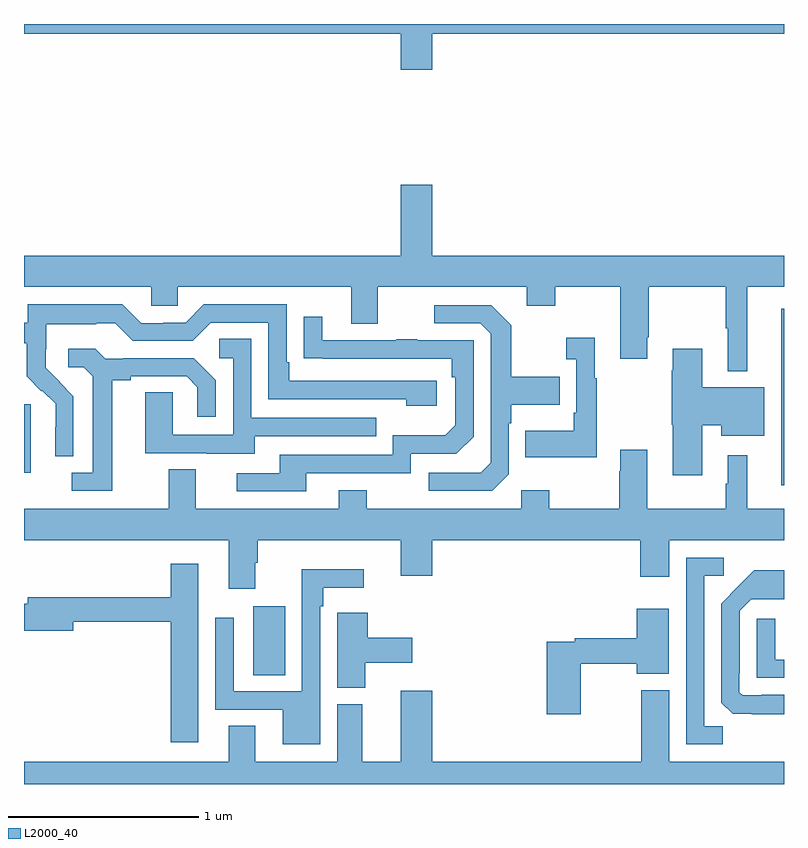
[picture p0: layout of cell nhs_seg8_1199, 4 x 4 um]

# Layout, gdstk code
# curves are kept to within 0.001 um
import gdstk
lib = gdstk.Library(unit=1e-6, precision=1e-09)
def R(c, l, rs):  # rectangles x0, y0, x1, y1
    for r in rs: c.add(gdstk.rectangle(r[:2], r[2:], *l))
def P(c, l, *ps):  # polygons
    for p in ps: c.add(gdstk.Polygon(p, *l))
L2000_40 = (2000, 40)

nhs_seg8_1199 = lib.new_cell('nhs_seg8_1199')
R(nhs_seg8_1199, L2000_40, [(188.207,1098.472,188.374,1098.835), (190.985,1099.473,191,1100.401), (187,1099.538,187.036,1099.899)])
P(nhs_seg8_1199, L2000_40, [(189.148,1101.848),(191,1101.848),(191,1101.9),(187,1101.9),(187,1101.848),(188.984,1101.848),(188.984,1101.66),(189.148,1101.66)],
  [(190.807,1100.516),(191,1100.516),(191,1100.68),(189.148,1100.68),(189.148,1101.055),(188.984,1101.055),(188.984,1100.68),(187,1100.68),(187,1100.516),(187.671,1100.516),(187.671,1100.418),(187.809,1100.418),(187.809,1100.516),(188.723,1100.516),(188.723,1100.322),(188.863,1100.322),(188.863,1100.516),(189.647,1100.516),(189.647,1100.417),(189.795,1100.417),(189.795,1100.516),(190.139,1100.516),(190.139,1100.139),(190.279,1100.139),(190.279,1100.251),(190.287,1100.251),(190.287,1100.516),(190.693,1100.516),(190.693,1100.3),(190.703,1100.3),(190.703,1100.072),(190.807,1100.072)],
  [(187.26,1099.942),(187.114,1100.09),(187.114,1100.187),(187.116,1100.187),(187.116,1100.321),(187.379,1100.321),(187.379,1100.325),(187.479,1100.325),(187.572,1100.232),(187.887,1100.232),(187.983,1100.328),(188.286,1100.328),(188.286,1099.926),(189.011,1099.926),(189.011,1099.892),(189.172,1099.892),(189.172,1100.022),(188.395,1100.022),(188.395,1100.119),(188.382,1100.119),(188.382,1100.424),(187.947,1100.424),(187.851,1100.328),(187.733,1100.328),(187.733,1100.325),(187.617,1100.325),(187.517,1100.425),(187.02,1100.425),(187.02,1100.328),(187,1100.328),(187,1100.22),(187.015,1100.22),(187.015,1100.045),(187.092,1099.968),(187.095,1099.971),(187.166,1099.901),(187.166,1099.778),(187.164,1099.778),(187.164,1099.624),(187.26,1099.624)],
  [(189.552,1099.53),(189.552,1099.799),(189.565,1099.799),(189.565,1099.895),(189.821,1099.895),(189.821,1100.043),(189.565,1100.043),(189.565,1100.315),(189.459,1100.421),(189.159,1100.421),(189.159,1100.325),(189.402,1100.325),(189.456,1100.271),(189.456,1099.59),(189.405,1099.539),(189.129,1099.539),(189.129,1099.443),(189.465,1099.443)],
  [(188.485,1099.536),(189.036,1099.536),(189.036,1099.638),(189.276,1099.638),(189.366,1099.728),(189.366,1100.235),(189.071,1100.235),(189.071,1100.24),(188.959,1100.24),(188.959,1100.235),(188.569,1100.235),(188.569,1100.359),(188.473,1100.359),(188.473,1100.14),(189.25,1100.139),(189.25,1100.042),(189.27,1100.042),(189.27,1099.788),(189.217,1099.735),(188.94,1099.735),(188.94,1099.632),(188.345,1099.632),(188.345,1099.536),(188.121,1099.536),(188.121,1099.44),(188.485,1099.44)],
  [(190.015,1100.035),(190.003,1100.035),(190.003,1100.248),(189.855,1100.248),(189.855,1100.135),(189.906,1100.135),(189.906,1099.855),(189.894,1099.855),(189.894,1099.759),(189.637,1099.759),(189.637,1099.619),(190.015,1099.619)],
  [(188.215,1099.731),(188.855,1099.731),(188.855,1099.827),(188.196,1099.827),(188.196,1100.243),(188.028,1100.243),(188.028,1100.142),(188.1,1100.142),(188.1,1099.737),(187.782,1099.737),(187.782,1099.961),(187.637,1099.961),(187.637,1099.641),(187.961,1099.641),(187.961,1099.637),(188.215,1099.637)],
  [(187.465,1100.024),(187.561,1100.024),(187.561,1100.046),(187.856,1100.046),(187.913,1099.989),(187.913,1099.833),(188.01,1099.833),(188.01,1100.026),(187.894,1100.142),(187.522,1100.142),(187.522,1100.139),(187.428,1100.139),(187.376,1100.191),(187.233,1100.191),(187.233,1100.094),(187.314,1100.094),(187.361,1100.047),(187.361,1099.539),(187.251,1099.539),(187.251,1099.443),(187.465,1099.443)],
  [(190.57,1099.787),(190.67,1099.787),(190.67,1099.733),(190.897,1099.733),(190.897,1099.987),(190.57,1099.987),(190.57,1100.191),(190.415,1100.191),(190.415,1100.078),(190.408,1100.078),(190.408,1099.791),(190.415,1099.791),(190.415,1099.524),(190.57,1099.524)],
  [(188.218,1099.064),(188.231,1099.064),(188.231,1099.184),(188.984,1099.184),(188.984,1098.996),(189.148,1098.996),(189.148,1099.184),(190.244,1099.184),(190.244,1098.99),(190.396,1098.99),(190.396,1099.184),(191,1099.184),(191,1099.348),(190.807,1099.348),(190.807,1099.63),(190.703,1099.63),(190.703,1099.481),(190.693,1099.481),(190.693,1099.348),(190.279,1099.348),(190.279,1099.66),(190.139,1099.66),(190.139,1099.547),(190.132,1099.547),(190.132,1099.348),(189.765,1099.348),(189.765,1099.447),(189.618,1099.447),(189.618,1099.348),(188.805,1099.348),(188.805,1099.447),(188.657,1099.447),(188.657,1099.348),(187.903,1099.348),(187.903,1099.556),(187.763,1099.556),(187.763,1099.348),(187,1099.348),(187,1099.184),(188.078,1099.184),(188.078,1098.927),(188.218,1098.927)],
  [(190.677,1098.203),(190.581,1098.203),(190.581,1098.996),(190.684,1098.996),(190.684,1099.092),(190.485,1099.092),(190.485,1098.108),(190.677,1098.108)],
  [(187.918,1099.06),(187.772,1099.06),(187.772,1098.883),(187.019,1098.883),(187.019,1098.849),(187,1098.849),(187,1098.707),(187.258,1098.707),(187.258,1098.754),(187.772,1098.754),(187.772,1098.12),(187.918,1098.12)],
  [(188.559,1098.836),(188.575,1098.836),(188.575,1098.932),(188.788,1098.932),(188.788,1099.03),(188.463,1099.03),(188.463,1098.387),(188.103,1098.387),(188.103,1098.775),(188.007,1098.775),(188.007,1098.291),(188.363,1098.291),(188.363,1098.11),(188.559,1098.11)],
  [(191,1098.369),(190.882,1098.369),(190.882,1098.366),(190.782,1098.366),(190.764,1098.384),(190.764,1098.484),(190.767,1098.484),(190.767,1098.813),(190.827,1098.873),(191,1098.872),(191,1099.024),(190.843,1099.024),(190.671,1098.85),(190.671,1098.328),(190.73,1098.269),(191,1098.268)],
  [(189.93,1098.532),(190.226,1098.532),(190.226,1098.479),(190.393,1098.479),(190.393,1098.823),(190.226,1098.823),(190.226,1098.668),(189.898,1098.668),(189.898,1098.648),(189.752,1098.648),(189.752,1098.267),(189.93,1098.267)],
  [(188.797,1098.539),(189.043,1098.539),(189.043,1098.669),(188.81,1098.669),(188.81,1098.802),(188.649,1098.802),(188.649,1098.689),(188.648,1098.689),(188.648,1098.406),(188.797,1098.406)],
  [(191,1098.555),(190.953,1098.555),(190.953,1098.769),(190.857,1098.769),(190.857,1098.459),(191,1098.459)],
  [(191,1098.016),(190.396,1098.016),(190.396,1098.394),(190.249,1098.394),(190.249,1098.016),(189.148,1098.016),(189.148,1098.391),(188.984,1098.391),(188.984,1098.016),(188.779,1098.016),(188.779,1098.321),(188.648,1098.321),(188.648,1098.016),(188.218,1098.016),(188.218,1098.206),(188.078,1098.206),(188.078,1098.016),(187,1098.016),(187,1097.9),(191,1097.9)])

lib.write_gds('nhs_seg8_1199.gds')
